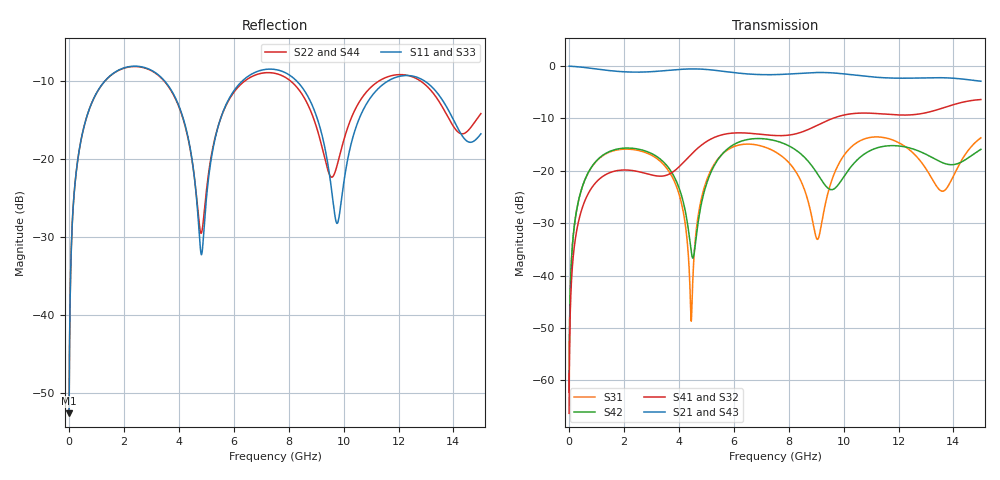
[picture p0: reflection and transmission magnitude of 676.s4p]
! Created with skrf 1.8.0 (http://scikit-rf.org).
# GHz S RI R 50.0
!freq ReS11 ImS11 ReS12 ImS12 ReS13 ImS13
! ReS14 ImS14
! ReS21 ImS21 ReS22 ImS22 ReS23 ImS23
! ReS24 ImS24
! ReS31 ImS31 ReS32 ImS32 ReS33 ImS33
! ReS34 ImS34
! ReS41 ImS41 ReS42 ImS42 ReS43 ImS43
! ReS44 ImS44
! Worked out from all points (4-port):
!   2499 points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, 5 MHz to 15 GHz, reference 50 ohm
!   strongest paths, dB at 5 MHz, 3.476 GHz, 7.19 GHz, 11.1 GHz, 15 GHz:
!     S21: 0.0, -0.9, -1.6, -2.1, -2.9
!     S43: 0.0, -0.9, -1.7, -2.1, -2.9
!     S41: -66.3, -20.9, -13.1, -9.0, -6.4
!     S32: -66.3, -21.0, -13.2, -9.1, -6.4
!     S42: -62.2, -18.5, -13.9, -15.8, -15.9
!     S31: -62.2, -19.0, -15.6, -13.5, -13.7
!   lowest |S11| = -52.7 dB at 5 MHz (marker M1), VSWR 1.00, Z = 50.2 + j0.141 ohm
!   |S11| at or under -10 dB: 3.469 GHz to 6.328 GHz (2.859 GHz wide, 58.4 % of centre); 8.276 GHz to 11.64 GHz (3.367 GHz wide, 33.8 % of centre); 12.92 GHz to end of sweep (the widest 3 of 4)
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0.005  0.00186 0.00141  0.9981 -0.00362  9.5e-05 0.000766  -9.21e-05 -0.000476
       0.9981 -0.00362  0.00186 0.00141  -9.21e-05 -0.000476  9.51e-05 0.000766
       9.5e-05 0.000766  -9.21e-05 -0.000476  0.00186 0.00141  0.9981 -0.00362
       -9.21e-05 -0.000476  9.51e-05 0.000766  0.9981 -0.00362  0.00186 0.00141
0.3126303  0.0298 0.0914  0.9592 -0.2237  0.0141 0.0448  -0.0119 -0.0273
           0.9592 -0.2237  0.0297 0.0914  -0.0119 -0.0273  0.0147 0.0447
           0.0141 0.0448  -0.0119 -0.0273  0.0298 0.0914  0.9592 -0.2237
           -0.0119 -0.0273  0.0147 0.0447  0.9592 -0.2237  0.0297 0.0914
1.419341  0.2817 0.1711  0.5244 -0.7423  0.1337 0.065  -0.0944 -0.0018
          0.5244 -0.7423  0.2796 0.1726  -0.0944 -0.00186  0.1396 0.0565
          0.1337 0.065  -0.0944 -0.00186  0.2817 0.1711  0.5244 -0.7423
          -0.0944 -0.0018  0.1396 0.0565  0.5244 -0.7423  0.2796 0.1726
4.451855  0.046 -0.096  -0.8891 -0.304  0.00363 0.000533  -0.0415 0.1376
          -0.8891 -0.304  0.0541 -0.0898  -0.0424 0.1373  -0.0145 -0.00881
          0.00363 0.000533  -0.0424 0.1373  0.0456 -0.0958  -0.8892 -0.3037
          -0.0415 0.1376  -0.0145 -0.00881  -0.8892 -0.3037  0.0543 -0.0894
5.621092  0.1324 0.1522  -0.7963 0.4002  0.1061 0.1025  0.1306 0.1801
          -0.7963 0.4002  0.1361 0.1473  0.1294 0.1807  0.1164 0.0922
          0.1061 0.1025  0.1294 0.1807  0.1328 0.1536  -0.7958 0.4005
          0.1306 0.1801  0.1164 0.0922  -0.7958 0.4005  0.1371 0.1479
9.766569  0.0384 -0.00226  0.8505 0.0837  0.0602 0.0908  0.0213 -0.3269
          0.8505 0.0837  0.0816 0.0398  0.0247 -0.3259  -0.0373 0.0611
          0.0602 0.0908  0.0247 -0.3259  0.0439 -0.00733  0.8504 0.0853
          0.0213 -0.3269  -0.0373 0.0611  0.8504 0.0853  0.0778 0.0335
15  0.141 0.0296  -0.7162 0.0336  0.0811 0.19  0.0554 0.4763
    -0.7162 0.0336  0.1868 0.0533  0.0471 0.4762  0.0338 0.1568
    0.0811 0.19  0.0471 0.4762  0.1427 0.0239  -0.7168 0.0331
    0.0554 0.4763  0.0338 0.1568  -0.7168 0.0331  0.184 0.0451
